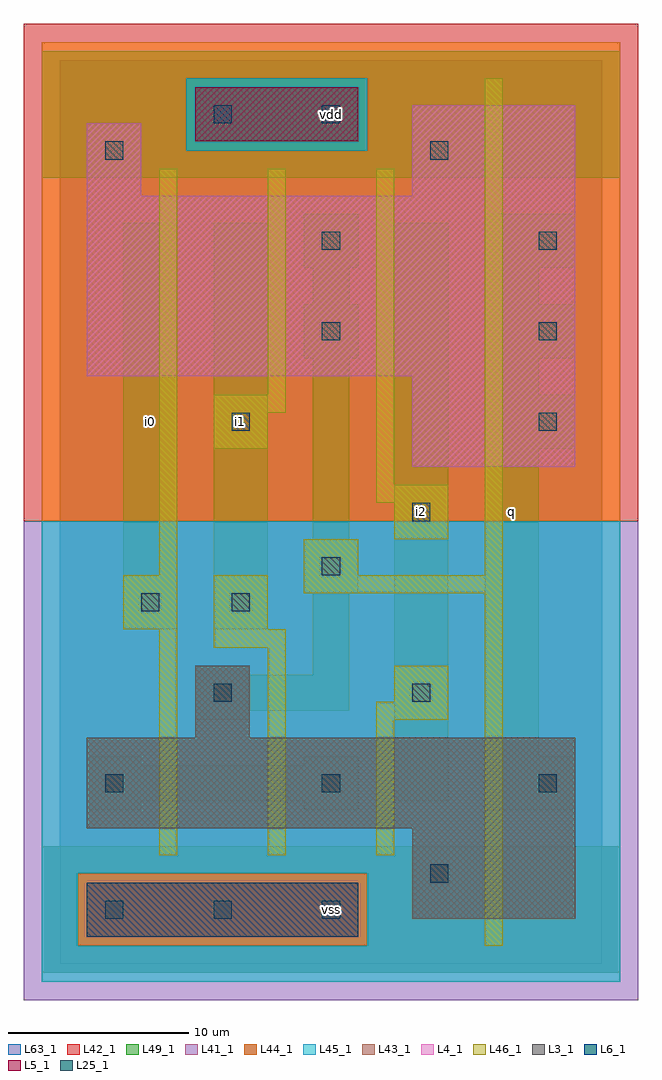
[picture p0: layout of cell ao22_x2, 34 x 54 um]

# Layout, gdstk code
import gdstk
lib = gdstk.Library(unit=1e-6, precision=1e-09)
def R(c, l, rs):  # rectangles x0, y0, x1, y1
    for r in rs: c.add(gdstk.rectangle(r[:2], r[2:], *l))
def A(c, l, x, y, w, h, nx, ny, dx, dy):  # array of equal rectangles
    R(c, l, [(x+i*dx, y+j*dy, x+i*dx+w, y+j*dy+h) for i in range(nx) for j in range(ny)])
L3_1 = (3, 1)
L4_1 = (4, 1)
L5_1 = (5, 1)
L6_1 = (6, 1)
L25_1 = (25, 1)
L41_1 = (41, 1)
L42_1 = (42, 1)
L43_1 = (43, 1)
L44_1 = (44, 1)
L45_1 = (45, 1)
L46_1 = (46, 1)
L49_1 = (49, 1)
L63_1 = (63, 1)

ao22_x2 = lib.new_cell('ao22_x2')
R(ao22_x2, L3_1, [(19.5,2.5,28.5,7.5), (1.5,7.5,28.5,12.5), (7.5,12.5,10.5,16.5)])
R(ao22_x2, L4_1, [(19.5,27.5,28.5,32.5), (1.5,32.5,28.5,42.5), (1.5,42.5,4.5,46.5), (19.5,42.5,28.5,47.5)])
R(ao22_x2, L5_1, [(7.5,45.5,16.5,48.5)])
R(ao22_x2, L6_1, [(1.5,1.5,16.5,4.5)])
A(ao22_x2, L25_1, 2.5, 2.5, 1, 1, 3, 1, 6, 0)
A(ao22_x2, L25_1, 2.5, 9.5, 1, 1, 3, 1, 12, 0)
A(ao22_x2, L25_1, 26.5, 29.5, 1, 1, 1, 3, 0, 5)
R(ao22_x2, L25_1, [(20.5,4.5,21.5,5.5), (8.5,14.5,9.5,15.5), (19.5,14.5,20.5,15.5), (4.5,19.5,5.5,20.5), (9.5,19.5,10.5,20.5), (14.5,21.5,15.5,22.5), (19.5,24.5,20.5,25.5), (9.5,29.5,10.5,30.5), (14.5,34.5,15.5,35.5), (14.5,39.5,15.5,40.5), (2.5,44.5,3.5,45.5), (20.5,44.5,21.5,45.5), (8.5,46.5,9.5,47.5), (14.5,46.5,15.5,47.5)])
R(ao22_x2, L41_1, [(-2,-2,32,24.5)])
R(ao22_x2, L42_1, [(-2,24.5,32,52)])
R(ao22_x2, L43_1, [(1.5,1.5,16.5,4.5), (19.5,2.5,28.5,7.5), (1.5,7.5,28.5,12.5), (7.5,12.5,10.5,16.5), (19.5,27.5,28.5,32.5), (1.5,32.5,28.5,42.5), (1.5,42.5,4.5,46.5), (19.5,42.5,28.5,47.5), (7.5,45.5,16.5,48.5)])
R(ao22_x2, L44_1, [(1,1,17,5), (-1,24.5,31,45), (-1,45,7,49), (17,45,31,49), (-1,49,31,51)])
R(ao22_x2, L45_1, [(-1,-1,31,1), (-1,1,1,5), (17,1,31,5), (-1,5,31,24.5), (7,45,17,49)])
R(ao22_x2, L46_1, [(23.5,1,24.5,20.5), (5.5,6,6.5,18.5), (11.5,6,12.5,17.5), (17.5,6,18.5,13.5), (17.5,13.5,21.5,14.5), (18.5,14.5,21.5,16.5), (8.5,17.5,12.5,18.5), (3.5,18.5,6.5,21.5), (8.5,18.5,11.5,21.5), (13.5,20.5,24.5,21.5), (5.5,21.5,6.5,44), (13.5,21.5,16.5,23.5), (23.5,21.5,24.5,49), (18.5,23.5,21.5,25.5), (17.5,25.5,21.5,26.5), (17.5,26.5,18.5,44), (8.5,28.5,11.5,30.5), (8.5,30.5,12.5,31.5), (11.5,31.5,12.5,44)])
A(ao22_x2, L49_1, 23.5, 28.5, 5, 3, 1, 3, 0, 5)
R(ao22_x2, L49_1, [(-1,-0.5,31,6.5), (1.5,8.5,4.5,9), (13.5,8.5,16.5,9), (23.5,8.5,28.5,11.5), (1.5,9,16.5,11), (18.5,9,21.5,41), (1.5,11,4.5,11.5), (13.5,11,16.5,11.5), (23.5,11.5,26.5,28.5), (7.5,13.5,10.5,14), (7.5,14,16,16), (7.5,16,10.5,16.5), (14,16,16,20.5), (3.5,18.5,6.5,41), (8.5,18.5,11.5,41), (13.5,20.5,16.5,23.5), (14,23.5,16,33.5), (23.5,31.5,26.5,33.5), (13.5,33.5,16.5,36.5), (14,36.5,16,38.5), (23.5,36.5,26.5,38.5), (13.5,38.5,16.5,41.5), (-1,43.5,31,50.5)])
R(ao22_x2, L63_1, [(0,0,30,50)])
ao22_x2.add(gdstk.Label('i0', (5,30), layer=49, texttype=1))
ao22_x2.add(gdstk.Label('i0', (5,30), layer=49, texttype=1))
ao22_x2.add(gdstk.Label('i1', (10,30), layer=49, texttype=1))
ao22_x2.add(gdstk.Label('i1', (10,30), layer=49, texttype=1))
ao22_x2.add(gdstk.Label('vss', (15,3), layer=49, texttype=1))
ao22_x2.add(gdstk.Label('vss', (15,3), layer=49, texttype=1))
ao22_x2.add(gdstk.Label('i2', (20,25), layer=49, texttype=1))
ao22_x2.add(gdstk.Label('i2', (20,25), layer=49, texttype=1))
ao22_x2.add(gdstk.Label('vdd', (15,47), layer=49, texttype=1))
ao22_x2.add(gdstk.Label('vdd', (15,47), layer=49, texttype=1))
ao22_x2.add(gdstk.Label('q', (25,25), layer=49, texttype=1))
ao22_x2.add(gdstk.Label('q', (25,25), layer=49, texttype=1))

lib.write_gds('ao22_x2.gds')
